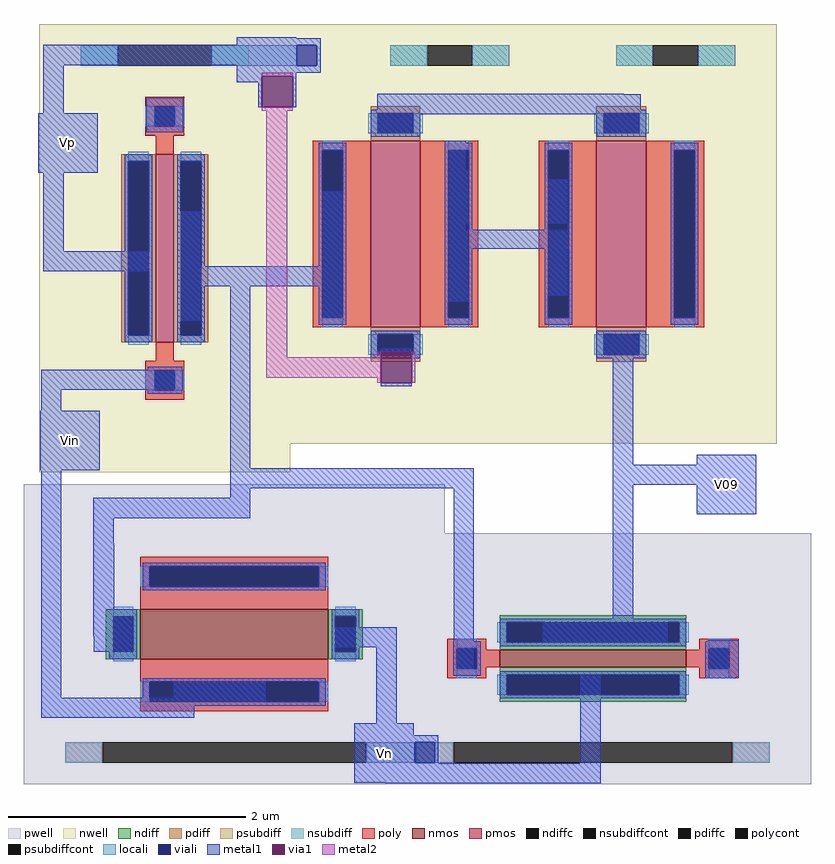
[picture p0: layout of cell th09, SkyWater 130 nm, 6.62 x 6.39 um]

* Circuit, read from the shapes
.subckt th09 Vp V09 Vin Vn
XM1 Vn Vin n1 Vn sky130_fd_pr__nfet_01v8 w=0.42 l=1.58
XM2 V09 n1 Vn Vn sky130_fd_pr__nfet_01v8 w=1.57 l=0.15
XM3 n1 Vin Vp Vp sky130_fd_pr__pfet_01v8 w=1.58 l=0.15
XM4 n2 n1 Vp Vp sky130_fd_pr__pfet_01v8 w=0.42 l=1.57
XM5 n2 n1 V09 Vp sky130_fd_pr__pfet_01v8 w=0.42 l=1.57
.ends

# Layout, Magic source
magic
tech sky130A
magscale 1 2
<< pwell >>
rect 620 -642 654 -582
<< psubdiff >>
rect 983 -718 1083 -684
<< locali >>
rect 735 454 827 488
rect 989 -718 1025 -684
rect 1059 -718 1075 -684
<< viali >>
rect 827 454 861 488
rect 1025 -718 1059 -684
<< metal1 >>
rect 726 500 826 502
rect 726 489 867 500
rect 401 488 867 489
rect 401 455 827 488
rect 401 374 435 455
rect 726 454 827 455
rect 861 454 867 488
rect 726 442 867 454
rect 726 436 826 442
rect 726 426 768 436
rect 392 274 492 374
rect 574 342 636 400
rect 762 384 768 426
rect 820 384 826 436
rect 963 406 1377 407
rect 962 372 1405 406
rect 963 341 1027 372
rect 1343 341 1405 372
rect 1076 279 1111 328
rect 401 142 435 274
rect 401 108 581 142
rect 631 117 665 209
rect 871 117 905 243
rect 1076 188 1115 279
rect 1249 188 1283 263
rect 1076 178 1111 188
rect 1283 178 1286 188
rect 1076 158 1286 178
rect 1080 146 1286 158
rect 631 83 905 117
rect 631 25 665 83
rect 397 -91 635 -57
rect 397 -126 431 -91
rect 396 -226 496 -126
rect 715 -223 749 83
rect 871 31 905 83
rect 1081 57 1115 146
rect 1249 67 1283 146
rect 1358 1 1392 2
rect 968 -27 1020 -21
rect 1339 -33 1403 1
rect 968 -85 1020 -79
rect 1358 -217 1393 -33
rect 1500 -217 1600 -200
rect 397 -609 431 -226
rect 715 -257 1125 -223
rect 715 -273 749 -257
rect 485 -307 749 -273
rect 485 -349 519 -307
rect 485 -471 520 -349
rect 485 -505 551 -471
rect 486 -531 551 -505
rect 892 -524 995 -490
rect 486 -532 520 -531
rect 620 -609 775 -581
rect 397 -615 775 -609
rect 397 -643 655 -615
rect 961 -652 995 -524
rect 1091 -567 1125 -257
rect 1358 -251 1600 -217
rect 1358 -482 1393 -251
rect 1500 -300 1600 -251
rect 1241 -517 1451 -482
rect 1518 -514 1570 -512
rect 924 -672 1024 -652
rect 924 -684 1065 -672
rect 924 -718 1025 -684
rect 1059 -718 1065 -684
rect 924 -719 1065 -718
rect 1304 -719 1338 -569
rect 1514 -574 1570 -514
rect 1514 -576 1566 -574
rect 924 -752 1338 -719
rect 977 -753 1338 -752
<< via1 >>
rect 768 384 820 436
rect 968 -79 1020 -27
<< metal2 >>
rect 768 436 820 442
rect 768 378 820 384
rect 776 -36 811 378
rect 962 -36 968 -27
rect 776 -71 968 -36
rect 962 -79 968 -71
rect 1020 -79 1026 -27
use sky130_fd_pr__nfet_01v8_2V6S9N  XM0
transform 1 0 722 0 1 -502
box -354 -252 354 252
use sky130_fd_pr__pfet_01v8_XYZSMQ  XM1
transform 1 0 605 0 1 147
box -211 -377 211 377
use sky130_fd_pr__pfet_01v8_AZD9DW  XM2
transform 0 -1 993 1 0 171
box -353 -261 353 261
use sky130_fd_pr__pfet_01v8_AZD9DW  XM3
transform 0 -1 1373 1 0 171
box -353 -261 353 261
use sky130_fd_pr__nfet_01v8_T8HSQ7  XM4
transform 0 -1 1325 1 0 -543
box -211 -367 211 367
<< labels >>
flabel metal1 924 -752 1024 -652 0 FreeSans 256 0 0 0 Vn
port 3 nsew
flabel metal1 396 -226 496 -126 0 FreeSans 256 0 0 0 Vin
port 2 nsew
flabel metal1 1500 -300 1600 -200 0 FreeSans 256 0 0 0 V09
port 1 nsew
flabel metal1 392 274 492 374 0 FreeSans 256 0 0 0 Vp
port 0 nsew
<< end >>

# cell sky130_fd_pr__nfet_01v8_2V6S9N: kit device sky130_fd_pr__nfet_01v8, w 0.42 l 1.58 m 1 nf 1 diffcov 100 polycov 100 guard 1 glc 1 grc 1 gtc 1 gbc 1 tbcov 100 rlcov 100 topc 1 botc 1 poverlap 0 doverlap 1 lmin 0.15 wmin 0.42 compatible {sky130_fd_pr__nfet_01v8 sky130_fd_pr__nfet_01v8_lvt sky130_fd_bs_flash__special_sonosfet_star sky130_fd_pr__nfet_g5v0d10v5 sky130_fd_pr__nfet_05v0_nvt sky130_fd_pr__nfet_03v3_nvt} full_metal 1 viasrc 100 viadrn 100 viagate 100 viagb 0 viagr 0 viagl 0 viagt 0

# cell sky130_fd_pr__pfet_01v8_XYZSMQ: kit device sky130_fd_pr__pfet_01v8, w 1.58 l 0.15 m 1 nf 1 diffcov 100 polycov 100 guard 1 glc 1 grc 1 gtc 1 gbc 1 tbcov 100 rlcov 100 topc 1 botc 1 poverlap 0 doverlap 1 lmin 0.15 wmin 0.42 compatible {sky130_fd_pr__pfet_01v8 sky130_fd_pr__pfet_01v8_lvt sky130_fd_pr__pfet_01v8_hvt sky130_fd_pr__pfet_g5v0d10v5} full_metal 1 viasrc 100 viadrn 100 viagate 100 viagb 0 viagr 0 viagl 0 viagt 0

# cell sky130_fd_pr__pfet_01v8_AZD9DW: kit device sky130_fd_pr__pfet_01v8, w 0.42 l 1.57 m 1 nf 1 diffcov 100 polycov 100 guard 1 glc 1 grc 1 gtc 1 gbc 1 tbcov 100 rlcov 100 topc 1 botc 1 poverlap 0 doverlap 1 lmin 0.15 wmin 0.42 compatible {sky130_fd_pr__pfet_01v8 sky130_fd_pr__pfet_01v8_lvt sky130_fd_pr__pfet_01v8_hvt sky130_fd_pr__pfet_g5v0d10v5} full_metal 1 viasrc 100 viadrn 100 viagate 100 viagb 0 viagr 0 viagl 0 viagt 0

# cell sky130_fd_pr__nfet_01v8_T8HSQ7: kit device sky130_fd_pr__nfet_01v8, w 1.57 l 0.15 m 1 nf 1 diffcov 100 polycov 100 guard 1 glc 1 grc 1 gtc 1 gbc 1 tbcov 100 rlcov 100 topc 1 botc 1 poverlap 0 doverlap 1 lmin 0.15 wmin 0.42 compatible {sky130_fd_pr__nfet_01v8 sky130_fd_pr__nfet_01v8_lvt sky130_fd_bs_flash__special_sonosfet_star sky130_fd_pr__nfet_g5v0d10v5 sky130_fd_pr__nfet_05v0_nvt sky130_fd_pr__nfet_03v3_nvt} full_metal 1 viasrc 100 viadrn 100 viagate 100 viagb 0 viagr 0 viagl 0 viagt 0
